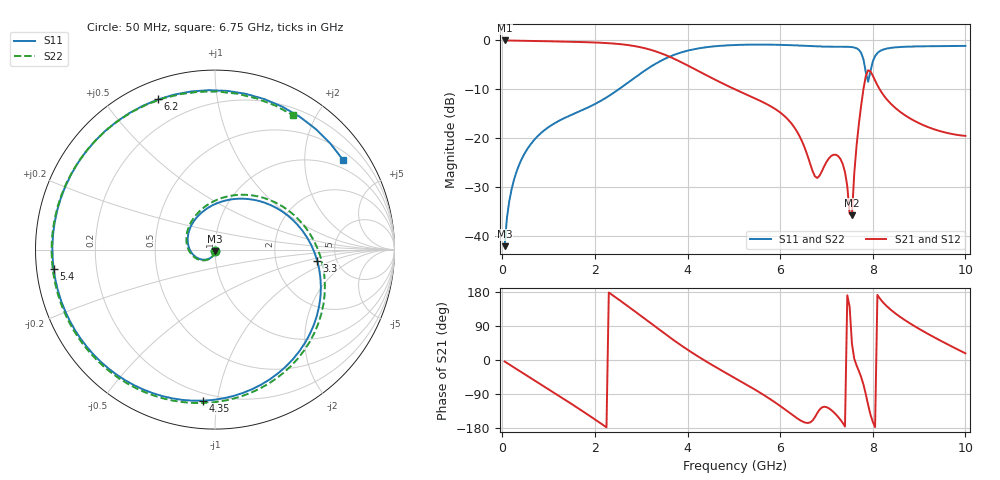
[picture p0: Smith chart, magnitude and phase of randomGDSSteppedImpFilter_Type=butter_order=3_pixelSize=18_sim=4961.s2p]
! freq	dB(S11)	phase(S11)	dB(S12)	phase(S12)
!  dB(S21)	phase(S21)	dB(S22)	phase(S22)
!S-par simulation data
#  GHz  S  DB  R 50
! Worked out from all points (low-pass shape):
!   200 points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, 50 MHz to 10 GHz, reference 50 ohm
!   highest |S21| = -0.01 dB at 50 MHz (marker M1); lowest = -35.9 dB at 7.55 GHz (marker M2)
!   |S21| within 3 dB of the highest: start of sweep to 3.528 GHz
!   lowest |S11| = -42.2 dB at 50 MHz (marker M3), VSWR 1.02, Z = 50 - j0.779 ohm
!   |S11| at or under -10 dB: start of sweep to 2.517 GHz
!   |S22| runs from -42.2 to -0.8 dB; largest |S21 - S12| = 0
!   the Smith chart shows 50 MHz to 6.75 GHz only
!   S11 on the Smith chart (normalised r, x): 50 MHz: 1.00, -0.02; 3.3 GHz: 3.55, -0.65; 4.35 GHz: 0.15, -0.91; 5.4 GHz: 0.05, -0.06; 6.2 GHz: 0.08, +0.69; 6.75 GHz: 0.73, +3.02
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0.05  -42.16 -91.5  -0.01 -3.9  -0.01 -3.9  -42.16 -91.1
0.2  -30.53 -105.0  -0.03 -15.5  -0.03 -15.5  -30.52 -103.9
0.5  -22.89 -130.0  -0.08 -38.6  -0.08 -38.6  -22.88 -127.3
1.15  -16.86 177.3  -0.21 -88.8  -0.21 -88.8  -16.86 -176.3
1.75  -14.18 128.2  -0.34 -136.3  -0.34 -136.3  -14.19 137.3
2.45  -10.44 69.5  -0.68 165.1  -0.68 165.1  -10.46 78.5
3.3  -4.84 -6.1  -2.21 88.2  -2.21 88.2  -4.85 0.4
3.4  -4.31 -15.2  -2.54 79.1  -2.54 79.1  -4.31 -8.8
4.35  -1.47 -94.7  -6.85 0.1  -6.85 0.1  -1.45 -87.7
5.05  -0.93 -146.5  -10.13 -49.5  -10.13 -49.5  -0.91 -136.6
5.4  -0.86 -173.2  -11.64 -74.1  -11.64 -74.1  -0.82 -160.9
6.2  -0.97 110.7  -16.53 -139.1  -16.53 -139.1  -0.92 131.5
6.7  -1.18 42.6  -26.76 -159.7  -26.76 -159.7  -1.21 67.4
6.75  -1.20 34.9  -27.84 -151.1  -27.84 -151.1  -1.25 59.7
7.15  -1.30 -26.6  -23.44 -137.1  -23.44 -137.1  -1.44 -6.3
7.55  -1.37 -84.3  -35.87 43.6  -35.87 43.6  -1.47 -70.6
7.65  -1.61 -99.7  -21.58 -14.3  -21.58 -14.3  -1.70 -87.3
7.85  -6.57 -129.7  -7.30 -90.5  -7.30 -90.5  -6.83 -119.8
8  -4.31 -99.3  -7.21 -163.0  -7.21 -163.0  -4.43 -87.1
8.35  -1.59 -139.0  -12.58 136.7  -12.58 136.7  -1.56 -127.0
9.1  -1.21 163.5  -17.40 75.2  -17.40 75.2  -1.11 -179.4
10  -1.12 103.3  -19.57 17.6  -19.57 17.6  -1.04 130.6
